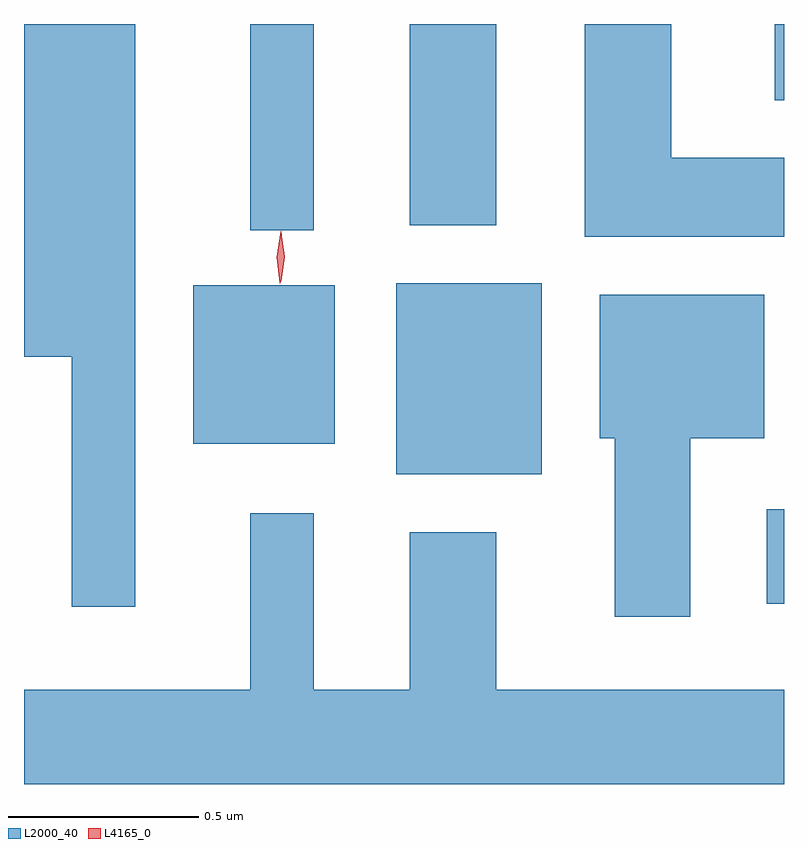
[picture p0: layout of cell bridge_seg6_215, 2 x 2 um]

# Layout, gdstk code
import gdstk
lib = gdstk.Library(unit=1e-6, precision=1e-09)
def R(c, l, rs):  # rectangles x0, y0, x1, y1
    for r in rs: c.add(gdstk.rectangle(r[:2], r[2:], *l))
def P(c, l, *ps):  # polygons
    for p in ps: c.add(gdstk.Polygon(p, *l))
L2000_40 = (2000, 40)
L4165_0 = (4165, 0)

bridge_seg6_215 = lib.new_cell('bridge_seg6_215')
R(bridge_seg6_215, L2000_40, [(1106.851,1548.311,1106.896,1548.559), (1105.876,1548.651,1106.259,1549.154), (1105.341,1548.731,1105.714,1549.149), (1105.491,1549.293,1105.659,1549.836), (1105.911,1549.306,1106.139,1549.836), (1106.871,1549.636,1106.896,1549.836)])
P(bridge_seg6_215, L2000_40, [(1105.189,1549.836),(1104.896,1549.836),(1104.896,1548.961),(1105.021,1548.961),(1105.021,1548.303),(1105.189,1548.303)],
  [(1106.896,1549.484),(1106.599,1549.484),(1106.599,1549.836),(1106.371,1549.836),(1106.371,1549.276),(1106.896,1549.276)],
  [(1106.649,1548.746),(1106.844,1548.746),(1106.844,1549.124),(1106.411,1549.124),(1106.411,1548.746),(1106.451,1548.746),(1106.451,1548.276),(1106.649,1548.276)],
  [(1106.896,1548.084),(1106.139,1548.084),(1106.139,1548.499),(1105.911,1548.499),(1105.911,1548.084),(1105.659,1548.084),(1105.659,1548.548),(1105.491,1548.548),(1105.491,1548.084),(1104.896,1548.084),(1104.896,1547.836),(1106.896,1547.836)])
P(bridge_seg6_215, L4165_0, [(1105.572,1549.158),(1105.572,1549.159),(1105.562,1549.223),(1105.572,1549.286),(1105.572,1549.287),(1105.573,1549.286),(1105.582,1549.223),(1105.573,1549.159)],
  [(1105.569,1549.154),(1105.561,1549.222),(1105.572,1549.29),(1105.572,1549.29),(1105.573,1549.29),(1105.581,1549.222),(1105.57,1549.154),(1105.57,1549.154)])

lib.write_gds('bridge_seg6_215.gds')
